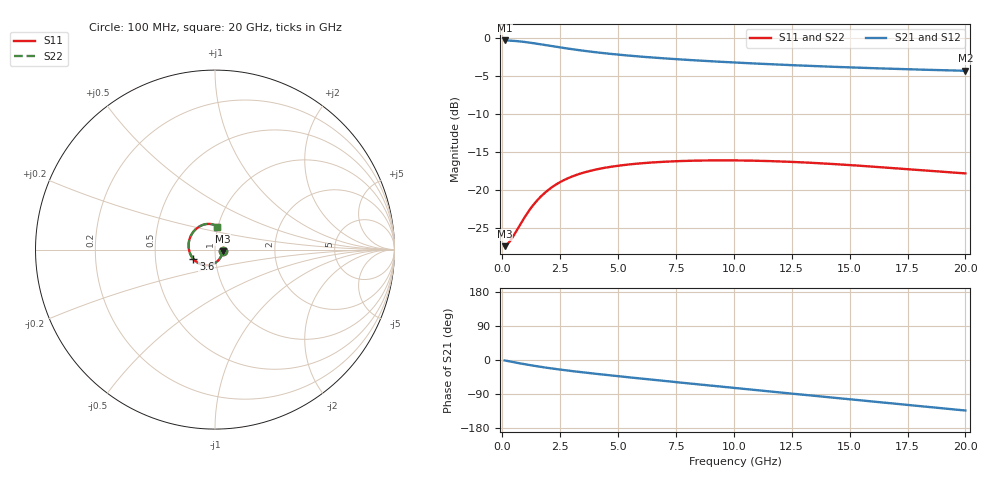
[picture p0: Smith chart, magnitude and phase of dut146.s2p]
! Created with skrf 1.9.0 (http://scikit-rf.org).
# GHz S RI R 50.0
!freq ReS11 ImS11 ReS21 ImS21 ReS12 ImS12 ReS22 ImS22
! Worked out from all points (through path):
!   200 points, 100 MHz to 20 GHz, reference 50 ohm
!   highest |S21| = -0.38 dB at 100 MHz (marker M1); lowest = -4.4 dB at 20 GHz (marker M2)
!   group delay of S21, straight-line fit = 17.5 ps
!   lowest |S11| = -27.4 dB at 100 MHz (marker M3), VSWR 1.09, Z = 54.4 - j0.921 ohm
!   |S11| at or under -10 dB: start of sweep to end of sweep
!   |S22| runs from -27.4 to -16.1 dB; largest |S21 - S12| = 2.4e-15
!   S11 on the Smith chart (normalised r, x): 100 MHz: 1.09, -0.02; 3.6 GHz: 0.78, -0.08; 20 GHz: 0.99, +0.26
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0.1  0.0419 -0.00845  0.9573 -0.0192  0.9573 -0.0192  0.0419 -0.00845
0.2  0.0408 -0.0157  0.9559 -0.0394  0.9559 -0.0394  0.0408 -0.0157
0.4  0.0368 -0.0303  0.9504 -0.0787  0.9504 -0.0787  0.0368 -0.0303
1  0.0114 -0.0665  0.9158 -0.1859  0.9158 -0.1859  0.0114 -0.0665
1.4  -0.0124 -0.0808  0.8826 -0.2462  0.8826 -0.2462  -0.0124 -0.0808
1.8  -0.0374 -0.0869  0.8457 -0.2974  0.8457 -0.2974  -0.0374 -0.0869
2.2  -0.0611 -0.0861  0.8077 -0.3405  0.8077 -0.3405  -0.0611 -0.0861
2.6  -0.0821 -0.0802  0.77 -0.3771  0.77 -0.3771  -0.0821 -0.0802
3  -0.0997 -0.0707  0.7335 -0.4087  0.7335 -0.4087  -0.0997 -0.0707
3.5  -0.1171 -0.0559  0.6898 -0.4431  0.6898 -0.4431  -0.1171 -0.0559
3.6  -0.12 -0.0527  0.6812 -0.4494  0.6812 -0.4494  -0.12 -0.0527
4.2  -0.1338 -0.0325  0.6316 -0.4842  0.6316 -0.4842  -0.1338 -0.0325
5  -0.144 -0.00528  0.5682 -0.5242  0.5682 -0.5242  -0.144 -0.00528
6.8  -0.1441 0.0501  0.4312 -0.5939  0.4312 -0.5939  -0.1441 0.0501
8.4  -0.1281 0.0887  0.3117 -0.6355  0.3117 -0.6355  -0.1281 0.0887
10.1  -0.1029 0.1175  0.1862 -0.6595  0.1862 -0.6595  -0.1029 0.1175
11.7  -0.0766 0.134  0.0709 -0.6635  0.0709 -0.6635  -0.0766 0.134
13.4  -0.0498 0.1421  -0.0466 -0.6491  -0.0466 -0.6491  -0.0498 0.1421
15  -0.0279 0.1429  -0.1504 -0.6194  -0.1504 -0.6194  -0.0279 0.1429
16.7  -0.00949 0.1393  -0.2517 -0.572  -0.2517 -0.572  -0.00949 0.1393
18.3  0.00302 0.1339  -0.337 -0.5142  -0.337 -0.5142  0.00302 0.1339
20  0.0117 0.1279  -0.4154 -0.4405  -0.4154 -0.4405  0.0117 0.1279
